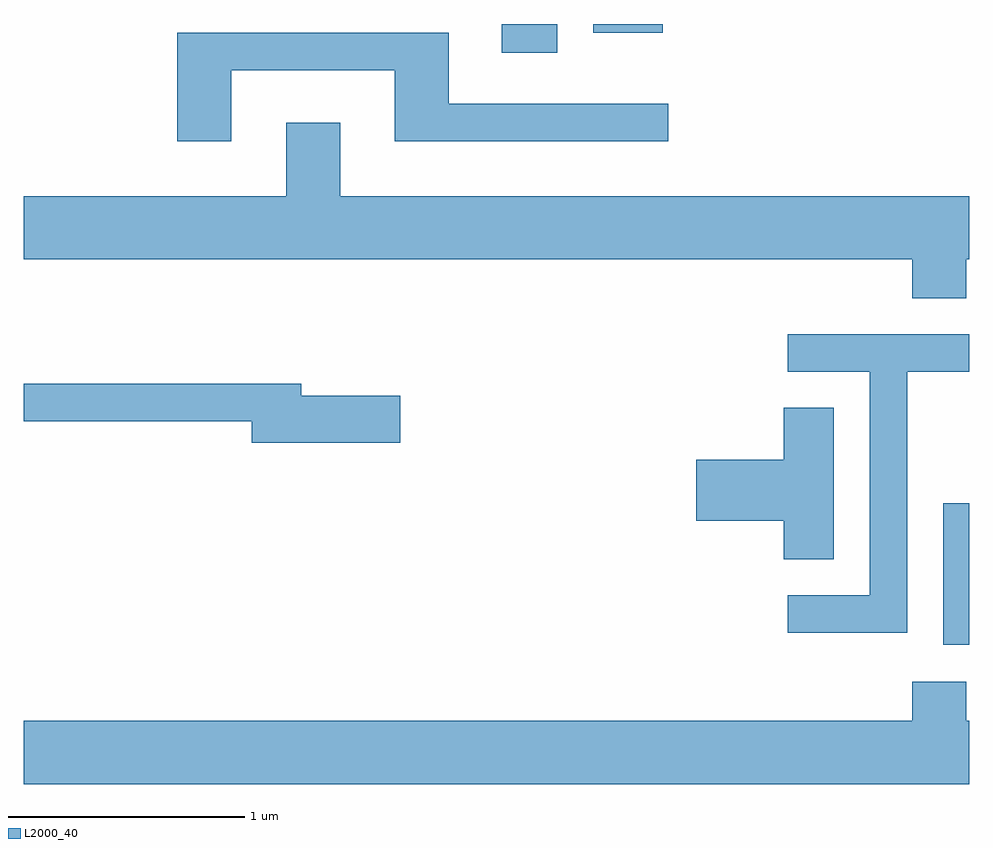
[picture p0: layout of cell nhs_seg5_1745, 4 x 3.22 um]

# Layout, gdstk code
import gdstk
lib = gdstk.Library(unit=1e-6, precision=1e-09)
def R(c, l, rs):  # rectangles x0, y0, x1, y1
    for r in rs: c.add(gdstk.rectangle(r[:2], r[2:], *l))
def P(c, l, *ps):  # polygons
    for p in ps: c.add(gdstk.Polygon(p, *l))
L2000_40 = (2000, 40)

nhs_seg5_1745 = lib.new_cell('nhs_seg5_1745')
R(nhs_seg5_1745, L2000_40, [(241.501,1397.446,241.611,1398.044), (239.633,1399.951,239.869,1400.072), (240.021,1400.036,240.314,1400.072)])
P(nhs_seg5_1745, L2000_40, [(238.489,1399.876),(239.181,1399.876),(239.181,1399.576),(240.338,1399.576),(240.338,1399.734),(239.409,1399.734),(239.409,1400.034),(238.261,1400.034),(238.261,1399.576),(238.489,1399.576)],
  [(241.599,1399.076),(241.611,1399.076),(241.611,1399.344),(238.949,1399.344),(238.949,1399.654),(238.721,1399.654),(238.721,1399.344),(237.611,1399.344),(237.611,1399.076),(241.371,1399.076),(241.371,1398.911),(241.599,1398.911)],
  [(241.349,1398.601),(241.611,1398.601),(241.611,1398.759),(240.843,1398.759),(240.843,1398.601),(241.191,1398.601),(241.191,1397.654),(240.843,1397.654),(240.843,1397.496),(241.349,1397.496)],
  [(239.204,1398.499),(238.784,1398.499),(238.784,1398.549),(237.611,1398.549),(237.611,1398.391),(238.576,1398.391),(238.576,1398.301),(239.204,1398.301)],
  [(241.039,1398.449),(240.826,1398.449),(240.826,1398.229),(240.456,1398.229),(240.456,1397.971),(240.826,1397.971),(240.826,1397.806),(241.039,1397.806)],
  [(241.611,1397.124),(241.599,1397.124),(241.599,1397.289),(241.371,1397.289),(241.371,1397.124),(237.611,1397.124),(237.611,1396.856),(241.611,1396.856)])

lib.write_gds('nhs_seg5_1745.gds')
